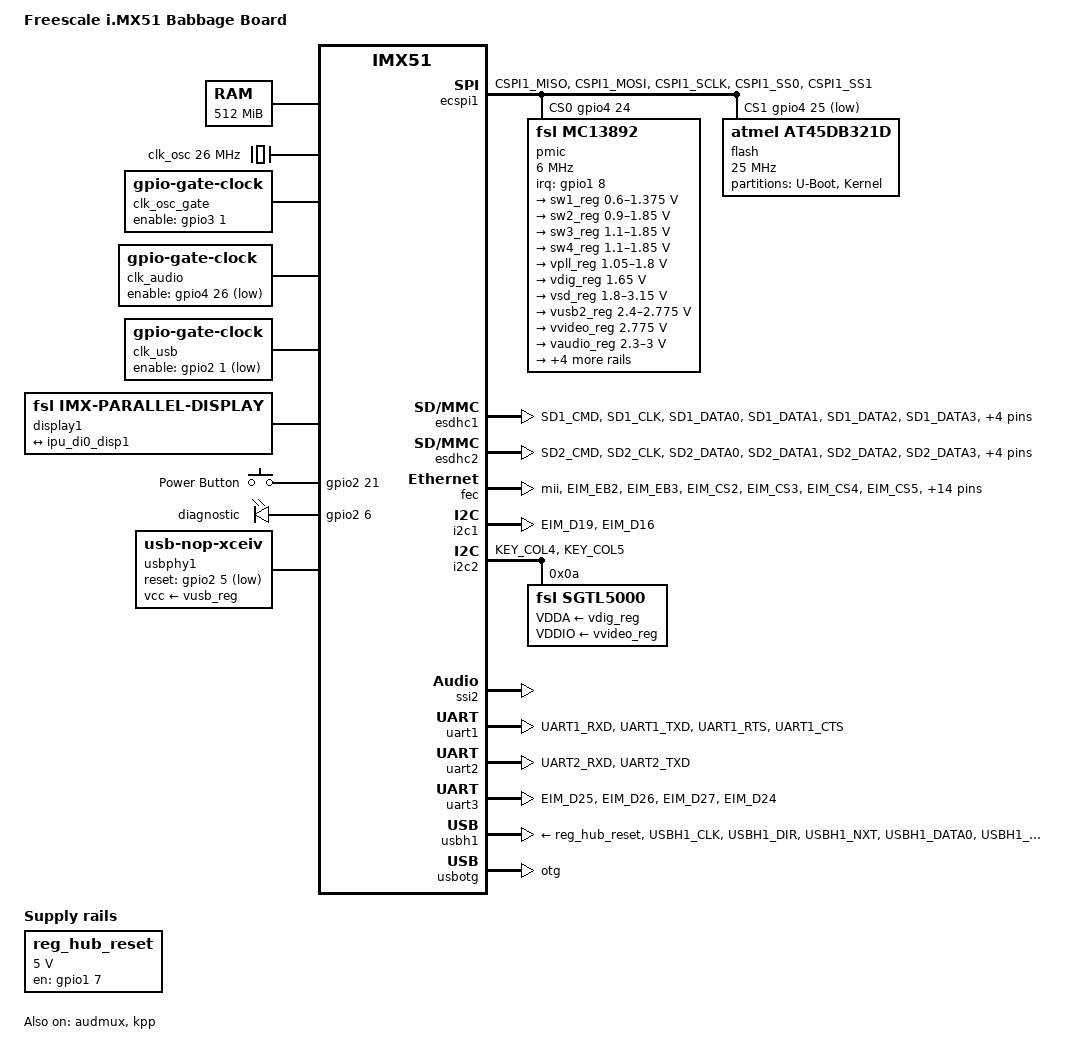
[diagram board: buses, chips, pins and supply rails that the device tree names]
// SPDX-License-Identifier: GPL-2.0+
//
// Copyright 2011 Freescale Semiconductor, Inc.
// Copyright 2011 Linaro Ltd.

/dts-v1/;
#include "imx51.dtsi"

/ {
	model = "Freescale i.MX51 Babbage Board";
	compatible = "fsl,imx51-babbage", "fsl,imx51";

	chosen {
		stdout-path = &uart1;
	};

	memory@90000000 {
		reg = <0x90000000 0x20000000>;
	};

	ckih1 {
		clock-frequency = <22579200>;
	};

	clk_osc: clk-osc {
		compatible = "fixed-clock";
		#clock-cells = <0>;
		clock-frequency = <26000000>;
	};

	clk_osc_gate: clk-osc-gate {
		compatible = "gpio-gate-clock";
		pinctrl-names = "default";
		pinctrl-0 = <&pinctrl_clk26mhz_osc>;
		clocks = <&clk_osc>;
		#clock-cells = <0>;
		enable-gpios = <&gpio3 1 GPIO_ACTIVE_HIGH>;
	};

	clk_audio: clk-audio {
		compatible = "gpio-gate-clock";
		pinctrl-names = "default";
		pinctrl-0 = <&pinctrl_clk26mhz_audio>;
		clocks = <&clk_osc_gate>;
		#clock-cells = <0>;
		enable-gpios = <&gpio4 26 GPIO_ACTIVE_LOW>;
	};

	clk_usb: clk-usb {
		compatible = "gpio-gate-clock";
		pinctrl-names = "default";
		pinctrl-0 = <&pinctrl_clk26mhz_usb>;
		clocks = <&clk_osc_gate>;
		#clock-cells = <0>;
		enable-gpios = <&gpio2 1 GPIO_ACTIVE_LOW>;
	};

	display1: disp1 {
		compatible = "fsl,imx-parallel-display";
		interface-pix-fmt = "rgb24";
		pinctrl-names = "default";
		pinctrl-0 = <&pinctrl_ipu_disp1>;
		display-timings {
			native-mode = <&timing0>;
			timing0: dvi {
				clock-frequency = <65000000>;
				hactive = <1024>;
				vactive = <768>;
				hback-porch = <220>;
				hfront-porch = <40>;
				vback-porch = <21>;
				vfront-porch = <7>;
				hsync-len = <60>;
				vsync-len = <10>;
			};
		};

		port {
			display0_in: endpoint {
				remote-endpoint = <&ipu_di0_disp1>;
			};
		};
	};

	display2: disp2 {
		compatible = "fsl,imx-parallel-display";
		interface-pix-fmt = "rgb565";
		pinctrl-names = "default";
		pinctrl-0 = <&pinctrl_ipu_disp2>;
		status = "disabled";
		display-timings {
			native-mode = <&timing1>;
			timing1: claawvga {
				clock-frequency = <27000000>;
				hactive = <800>;
				vactive = <480>;
				hback-porch = <40>;
				hfront-porch = <60>;
				vback-porch = <10>;
				vfront-porch = <10>;
				hsync-len = <20>;
				vsync-len = <10>;
				hsync-active = <0>;
				vsync-active = <0>;
				de-active = <1>;
				pixelclk-active = <0>;
			};
		};

		port {
			display1_in: endpoint {
				remote-endpoint = <&ipu_di1_disp2>;
			};
		};
	};

	gpio-keys {
		compatible = "gpio-keys";
		pinctrl-names = "default";
		pinctrl-0 = <&pinctrl_gpio_keys>;

		power {
			label = "Power Button";
			gpios = <&gpio2 21 GPIO_ACTIVE_HIGH>;
			linux,code = <KEY_POWER>;
			wakeup-source;
		};
	};

	leds {
		compatible = "gpio-leds";
		pinctrl-names = "default";
		pinctrl-0 = <&pinctrl_gpio_leds>;

		led-diagnostic {
			label = "diagnostic";
			gpios = <&gpio2 6 GPIO_ACTIVE_HIGH>;
		};
	};

	regulators {
		compatible = "simple-bus";
		#address-cells = <1>;
		#size-cells = <0>;

		reg_hub_reset: regulator@0 {
			compatible = "regulator-fixed";
			pinctrl-names = "default";
			pinctrl-0 = <&pinctrl_usbotgreg>;
			reg = <0>;
			regulator-name = "hub_reset";
			regulator-min-microvolt = <5000000>;
			regulator-max-microvolt = <5000000>;
			gpio = <&gpio1 7 GPIO_ACTIVE_HIGH>;
			enable-active-high;
		};
	};

	sound {
		compatible = "fsl,imx51-babbage-sgtl5000",
			     "fsl,imx-audio-sgtl5000";
		model = "imx51-babbage-sgtl5000";
		ssi-controller = <&ssi2>;
		audio-codec = <&sgtl5000>;
		audio-routing =
			"MIC_IN", "Mic Jack",
			"Mic Jack", "Mic Bias",
			"Headphone Jack", "HP_OUT";
		mux-int-port = <2>;
		mux-ext-port = <3>;
	};

	usbphy1: usbphy1 {
		compatible = "usb-nop-xceiv";
		pinctrl-names = "default";
		pinctrl-0 = <&pinctrl_usbh1reg>;
		clocks = <&clk_usb>;
		clock-names = "main_clk";
		reset-gpios = <&gpio2 5 GPIO_ACTIVE_LOW>;
		vcc-supply = <&vusb_reg>;
		#phy-cells = <0>;
	};
};

&audmux {
	pinctrl-names = "default";
	pinctrl-0 = <&pinctrl_audmux>;
	status = "okay";
};

&ecspi1 {
	pinctrl-names = "default";
	pinctrl-0 = <&pinctrl_ecspi1>;
	cs-gpios = <&gpio4 24 GPIO_ACTIVE_HIGH>,
		   <&gpio4 25 GPIO_ACTIVE_LOW>;
	status = "okay";

	pmic: mc13892@0 {
		compatible = "fsl,mc13892";
		pinctrl-names = "default";
		pinctrl-0 = <&pinctrl_pmic>;
		spi-max-frequency = <6000000>;
		spi-cs-high;
		reg = <0>;
		interrupt-parent = <&gpio1>;
		interrupts = <8 IRQ_TYPE_LEVEL_HIGH>;
		fsl,mc13xxx-uses-rtc;

		regulators {
			sw1_reg: sw1 {
				regulator-min-microvolt = <600000>;
				regulator-max-microvolt = <1375000>;
				regulator-boot-on;
				regulator-always-on;
			};

			sw2_reg: sw2 {
				regulator-min-microvolt = <900000>;
				regulator-max-microvolt = <1850000>;
				regulator-boot-on;
				regulator-always-on;
			};

			sw3_reg: sw3 {
				regulator-min-microvolt = <1100000>;
				regulator-max-microvolt = <1850000>;
				regulator-boot-on;
				regulator-always-on;
			};

			sw4_reg: sw4 {
				regulator-min-microvolt = <1100000>;
				regulator-max-microvolt = <1850000>;
				regulator-boot-on;
				regulator-always-on;
			};

			vpll_reg: vpll {
				regulator-min-microvolt = <1050000>;
				regulator-max-microvolt = <1800000>;
				regulator-boot-on;
				regulator-always-on;
			};

			vdig_reg: vdig {
				regulator-min-microvolt = <1650000>;
				regulator-max-microvolt = <1650000>;
				regulator-boot-on;
			};

			vsd_reg: vsd {
				regulator-min-microvolt = <1800000>;
				regulator-max-microvolt = <3150000>;
			};

			vusb_reg: vusb {
				regulator-boot-on;
			};

			vusb2_reg: vusb2 {
				regulator-min-microvolt = <2400000>;
				regulator-max-microvolt = <2775000>;
				regulator-boot-on;
				regulator-always-on;
			};

			vvideo_reg: vvideo {
				regulator-min-microvolt = <2775000>;
				regulator-max-microvolt = <2775000>;
			};

			vaudio_reg: vaudio {
				regulator-min-microvolt = <2300000>;
				regulator-max-microvolt = <3000000>;
			};

			vcam_reg: vcam {
				regulator-min-microvolt = <2500000>;
				regulator-max-microvolt = <3000000>;
			};

			vgen1_reg: vgen1 {
				regulator-min-microvolt = <1200000>;
				regulator-max-microvolt = <1200000>;
			};

			vgen2_reg: vgen2 {
				regulator-min-microvolt = <1200000>;
				regulator-max-microvolt = <3150000>;
				regulator-always-on;
			};

			vgen3_reg: vgen3 {
				regulator-min-microvolt = <1800000>;
				regulator-max-microvolt = <2900000>;
				regulator-always-on;
			};
		};
	};

	flash: at45db321d@1 {
		#address-cells = <1>;
		#size-cells = <1>;
		compatible = "atmel,at45db321d", "atmel,at45", "atmel,dataflash";
		spi-max-frequency = <25000000>;
		reg = <1>;

		partition@0 {
			label = "U-Boot";
			reg = <0x0 0x40000>;
			read-only;
		};

		partition@40000 {
			label = "Kernel";
			reg = <0x40000 0x3c0000>;
		};
	};
};

&esdhc1 {
	pinctrl-names = "default";
	pinctrl-0 = <&pinctrl_esdhc1>;
	cd-gpios = <&gpio1 0 GPIO_ACTIVE_LOW>;
	wp-gpios = <&gpio1 1 GPIO_ACTIVE_HIGH>;
	status = "okay";
};

&esdhc2 {
	pinctrl-names = "default";
	pinctrl-0 = <&pinctrl_esdhc2>;
	cd-gpios = <&gpio1 6 GPIO_ACTIVE_LOW>;
	wp-gpios = <&gpio1 5 GPIO_ACTIVE_HIGH>;
	status = "okay";
};

&fec {
	pinctrl-names = "default";
	pinctrl-0 = <&pinctrl_fec>;
	phy-mode = "mii";
	phy-reset-gpios = <&gpio2 14 GPIO_ACTIVE_LOW>;
	phy-reset-duration = <1>;
	status = "okay";
};

&i2c1 {
	pinctrl-names = "default";
	pinctrl-0 = <&pinctrl_i2c1>;
	status = "okay";
};

&i2c2 {
	pinctrl-names = "default";
	pinctrl-0 = <&pinctrl_i2c2>;
	status = "okay";

	sgtl5000: codec@a {
		compatible = "fsl,sgtl5000";
		reg = <0x0a>;
		#sound-dai-cells = <0>;
		clocks = <&clk_audio>;
		VDDA-supply = <&vdig_reg>;
		VDDIO-supply = <&vvideo_reg>;
	};
};

&ipu_di0_disp1 {
	remote-endpoint = <&display0_in>;
};

&ipu_di1_disp2 {
	remote-endpoint = <&display1_in>;
};

&kpp {
	pinctrl-names = "default";
	pinctrl-0 = <&pinctrl_kpp>;
	linux,keymap = <
		MATRIX_KEY(0, 0, KEY_UP)
		MATRIX_KEY(0, 1, KEY_DOWN)
		MATRIX_KEY(0, 2, KEY_VOLUMEDOWN)
		MATRIX_KEY(0, 3, KEY_HOME)
		MATRIX_KEY(1, 0, KEY_RIGHT)
		MATRIX_KEY(1, 1, KEY_LEFT)
		MATRIX_KEY(1, 2, KEY_ENTER)
		MATRIX_KEY(1, 3, KEY_VOLUMEUP)
		MATRIX_KEY(2, 0, KEY_F6)
		MATRIX_KEY(2, 1, KEY_F8)
		MATRIX_KEY(2, 2, KEY_F9)
		MATRIX_KEY(2, 3, KEY_F10)
		MATRIX_KEY(3, 0, KEY_F1)
		MATRIX_KEY(3, 1, KEY_F2)
		MATRIX_KEY(3, 2, KEY_F3)
		MATRIX_KEY(3, 3, KEY_POWER)
	>;
	status = "okay";
};

&pmu {
	secure-reg-access;
};

&ssi2 {
	status = "okay";
};

&uart1 {
	pinctrl-names = "default";
	pinctrl-0 = <&pinctrl_uart1>;
	uart-has-rtscts;
	status = "okay";
};

&uart2 {
	pinctrl-names = "default";
	pinctrl-0 = <&pinctrl_uart2>;
	status = "okay";
};

&uart3 {
	pinctrl-names = "default";
	pinctrl-0 = <&pinctrl_uart3>;
	uart-has-rtscts;
	status = "okay";
};

&usbh1 {
	pinctrl-names = "default";
	pinctrl-0 = <&pinctrl_usbh1>;
	vbus-supply = <&reg_hub_reset>;
	fsl,usbphy = <&usbphy1>;
	phy_type = "ulpi";
	status = "okay";
};

&usbphy0 {
	vcc-supply = <&vusb_reg>;
};

&usbotg {
	dr_mode = "otg";
	disable-over-current;
	phy_type = "utmi_wide";
	status = "okay";
};

&iomuxc {
	imx51-babbage {
		pinctrl_audmux: audmuxgrp {
			fsl,pins = <
				MX51_PAD_AUD3_BB_TXD__AUD3_TXD		0x80000000
				MX51_PAD_AUD3_BB_RXD__AUD3_RXD		0x80000000
				MX51_PAD_AUD3_BB_CK__AUD3_TXC		0x80000000
				MX51_PAD_AUD3_BB_FS__AUD3_TXFS		0x80000000
			>;
		};

		pinctrl_clk26mhz_audio: clk26mhzaudiocgrp {
			fsl,pins = <
				MX51_PAD_CSPI1_RDY__GPIO4_26		0x85
			>;
		};

		pinctrl_clk26mhz_osc: clk26mhzoscgrp {
			fsl,pins = <
				MX51_PAD_DI1_PIN12__GPIO3_1		0x85
			>;
		};

		pinctrl_clk26mhz_usb: clk26mhzusbgrp {
			fsl,pins = <
				MX51_PAD_EIM_D17__GPIO2_1		0x85
			>;
		};

		pinctrl_ecspi1: ecspi1grp {
			fsl,pins = <
				MX51_PAD_CSPI1_MISO__ECSPI1_MISO	0x185
				MX51_PAD_CSPI1_MOSI__ECSPI1_MOSI	0x185
				MX51_PAD_CSPI1_SCLK__ECSPI1_SCLK	0x185
				MX51_PAD_CSPI1_SS0__GPIO4_24		0x85 /* CS0 */
				MX51_PAD_CSPI1_SS1__GPIO4_25		0x85 /* CS1 */
			>;
		};

		pinctrl_esdhc1: esdhc1grp {
			fsl,pins = <
				MX51_PAD_SD1_CMD__SD1_CMD		0x400020d5
				MX51_PAD_SD1_CLK__SD1_CLK		0x20d5
				MX51_PAD_SD1_DATA0__SD1_DATA0		0x20d5
				MX51_PAD_SD1_DATA1__SD1_DATA1		0x20d5
				MX51_PAD_SD1_DATA2__SD1_DATA2		0x20d5
				MX51_PAD_SD1_DATA3__SD1_DATA3		0x20d5
				MX51_PAD_GPIO1_0__GPIO1_0		0x100
				MX51_PAD_GPIO1_1__GPIO1_1		0x100
			>;
		};

		pinctrl_esdhc2: esdhc2grp {
			fsl,pins = <
				MX51_PAD_SD2_CMD__SD2_CMD		0x400020d5
				MX51_PAD_SD2_CLK__SD2_CLK		0x20d5
				MX51_PAD_SD2_DATA0__SD2_DATA0		0x20d5
				MX51_PAD_SD2_DATA1__SD2_DATA1		0x20d5
				MX51_PAD_SD2_DATA2__SD2_DATA2		0x20d5
				MX51_PAD_SD2_DATA3__SD2_DATA3		0x20d5
				MX51_PAD_GPIO1_5__GPIO1_5		0x100 /* WP */
				MX51_PAD_GPIO1_6__GPIO1_6		0x100 /* CD */
			>;
		};

		pinctrl_fec: fecgrp {
			fsl,pins = <
				MX51_PAD_EIM_EB2__FEC_MDIO		0x000001f5
				MX51_PAD_EIM_EB3__FEC_RDATA1		0x00000085
				MX51_PAD_EIM_CS2__FEC_RDATA2		0x00000085
				MX51_PAD_EIM_CS3__FEC_RDATA3		0x00000085
				MX51_PAD_EIM_CS4__FEC_RX_ER		0x00000180
				MX51_PAD_EIM_CS5__FEC_CRS		0x00000180
				MX51_PAD_NANDF_RB2__FEC_COL		0x00000180
				MX51_PAD_NANDF_RB3__FEC_RX_CLK		0x00000180
				MX51_PAD_NANDF_D9__FEC_RDATA0		0x00002180
				MX51_PAD_NANDF_D8__FEC_TDATA0		0x00002004
				MX51_PAD_NANDF_CS2__FEC_TX_ER		0x00002004
				MX51_PAD_NANDF_CS3__FEC_MDC		0x00002004
				MX51_PAD_NANDF_CS4__FEC_TDATA1		0x00002004
				MX51_PAD_NANDF_CS5__FEC_TDATA2		0x00002004
				MX51_PAD_NANDF_CS6__FEC_TDATA3		0x00002004
				MX51_PAD_NANDF_CS7__FEC_TX_EN		0x00002004
				MX51_PAD_NANDF_RDY_INT__FEC_TX_CLK	0x00002180
				MX51_PAD_NANDF_D11__FEC_RX_DV		0x000020a4
				MX51_PAD_EIM_A20__GPIO2_14		0x00000085 /* Phy Reset */
			>;
		};

		pinctrl_gpio_keys: gpiokeysgrp {
			fsl,pins = <
				MX51_PAD_EIM_A27__GPIO2_21		0x5
			>;
		};

		pinctrl_gpio_leds: gpioledsgrp {
			fsl,pins = <
				MX51_PAD_EIM_D22__GPIO2_6		0x80000000
			>;
		};

		pinctrl_i2c1: i2c1grp {
			fsl,pins = <
				MX51_PAD_EIM_D19__I2C1_SCL		0x400001ed
				MX51_PAD_EIM_D16__I2C1_SDA		0x400001ed
			>;
		};

		pinctrl_i2c2: i2c2grp {
			fsl,pins = <
				MX51_PAD_KEY_COL4__I2C2_SCL		0x400001ed
				MX51_PAD_KEY_COL5__I2C2_SDA		0x400001ed
			>;
		};

		pinctrl_ipu_disp1: ipudisp1grp {
			fsl,pins = <
				MX51_PAD_DISP1_DAT0__DISP1_DAT0		0x5
				MX51_PAD_DISP1_DAT1__DISP1_DAT1		0x5
				MX51_PAD_DISP1_DAT2__DISP1_DAT2		0x5
				MX51_PAD_DISP1_DAT3__DISP1_DAT3		0x5
				MX51_PAD_DISP1_DAT4__DISP1_DAT4		0x5
				MX51_PAD_DISP1_DAT5__DISP1_DAT5		0x5
				MX51_PAD_DISP1_DAT6__DISP1_DAT6		0x5
				MX51_PAD_DISP1_DAT7__DISP1_DAT7		0x5
				MX51_PAD_DISP1_DAT8__DISP1_DAT8		0x5
				MX51_PAD_DISP1_DAT9__DISP1_DAT9		0x5
				MX51_PAD_DISP1_DAT10__DISP1_DAT10	0x5
				MX51_PAD_DISP1_DAT11__DISP1_DAT11	0x5
				MX51_PAD_DISP1_DAT12__DISP1_DAT12	0x5
				MX51_PAD_DISP1_DAT13__DISP1_DAT13	0x5
				MX51_PAD_DISP1_DAT14__DISP1_DAT14	0x5
				MX51_PAD_DISP1_DAT15__DISP1_DAT15	0x5
				MX51_PAD_DISP1_DAT16__DISP1_DAT16	0x5
				MX51_PAD_DISP1_DAT17__DISP1_DAT17	0x5
				MX51_PAD_DISP1_DAT18__DISP1_DAT18	0x5
				MX51_PAD_DISP1_DAT19__DISP1_DAT19	0x5
				MX51_PAD_DISP1_DAT20__DISP1_DAT20	0x5
				MX51_PAD_DISP1_DAT21__DISP1_DAT21	0x5
				MX51_PAD_DISP1_DAT22__DISP1_DAT22	0x5
				MX51_PAD_DISP1_DAT23__DISP1_DAT23	0x5
				MX51_PAD_DI1_PIN2__DI1_PIN2		0x5
				MX51_PAD_DI1_PIN3__DI1_PIN3		0x5
			>;
		};

		pinctrl_ipu_disp2: ipudisp2grp {
			fsl,pins = <
				MX51_PAD_DISP2_DAT0__DISP2_DAT0		0x5
				MX51_PAD_DISP2_DAT1__DISP2_DAT1		0x5
				MX51_PAD_DISP2_DAT2__DISP2_DAT2		0x5
				MX51_PAD_DISP2_DAT3__DISP2_DAT3		0x5
				MX51_PAD_DISP2_DAT4__DISP2_DAT4		0x5
				MX51_PAD_DISP2_DAT5__DISP2_DAT5		0x5
				MX51_PAD_DISP2_DAT6__DISP2_DAT6		0x5
				MX51_PAD_DISP2_DAT7__DISP2_DAT7		0x5
				MX51_PAD_DISP2_DAT8__DISP2_DAT8		0x5
				MX51_PAD_DISP2_DAT9__DISP2_DAT9		0x5
				MX51_PAD_DISP2_DAT10__DISP2_DAT10	0x5
				MX51_PAD_DISP2_DAT11__DISP2_DAT11	0x5
				MX51_PAD_DISP2_DAT12__DISP2_DAT12	0x5
				MX51_PAD_DISP2_DAT13__DISP2_DAT13	0x5
				MX51_PAD_DISP2_DAT14__DISP2_DAT14	0x5
				MX51_PAD_DISP2_DAT15__DISP2_DAT15	0x5
				MX51_PAD_DI2_PIN2__DI2_PIN2		0x5
				MX51_PAD_DI2_PIN3__DI2_PIN3		0x5
				MX51_PAD_DI2_DISP_CLK__DI2_DISP_CLK	0x5
				MX51_PAD_DI_GP4__DI2_PIN15		0x5
			>;
		};

		pinctrl_kpp: kppgrp {
			fsl,pins = <
				MX51_PAD_KEY_ROW0__KEY_ROW0		0xe0
				MX51_PAD_KEY_ROW1__KEY_ROW1		0xe0
				MX51_PAD_KEY_ROW2__KEY_ROW2		0xe0
				MX51_PAD_KEY_ROW3__KEY_ROW3		0xe0
				MX51_PAD_KEY_COL0__KEY_COL0		0xe8
				MX51_PAD_KEY_COL1__KEY_COL1		0xe8
				MX51_PAD_KEY_COL2__KEY_COL2		0xe8
				MX51_PAD_KEY_COL3__KEY_COL3		0xe8
			>;
		};

		pinctrl_pmic: pmicgrp {
			fsl,pins = <
				MX51_PAD_GPIO1_8__GPIO1_8		0xe5 /* IRQ */
			>;
		};

		pinctrl_uart1: uart1grp {
			fsl,pins = <
				MX51_PAD_UART1_RXD__UART1_RXD		0x1c5
				MX51_PAD_UART1_TXD__UART1_TXD		0x1c5
				MX51_PAD_UART1_RTS__UART1_RTS		0x1c5
				MX51_PAD_UART1_CTS__UART1_CTS		0x1c5
			>;
		};

		pinctrl_uart2: uart2grp {
			fsl,pins = <
				MX51_PAD_UART2_RXD__UART2_RXD		0x1c5
				MX51_PAD_UART2_TXD__UART2_TXD		0x1c5
			>;
		};

		pinctrl_uart3: uart3grp {
			fsl,pins = <
				MX51_PAD_EIM_D25__UART3_RXD		0x1c5
				MX51_PAD_EIM_D26__UART3_TXD		0x1c5
				MX51_PAD_EIM_D27__UART3_RTS		0x1c5
				MX51_PAD_EIM_D24__UART3_CTS		0x1c5
			>;
		};

		pinctrl_usbh1: usbh1grp {
			fsl,pins = <
				MX51_PAD_USBH1_CLK__USBH1_CLK		0x80000000
				MX51_PAD_USBH1_DIR__USBH1_DIR		0x80000000
				MX51_PAD_USBH1_NXT__USBH1_NXT		0x80000000
				MX51_PAD_USBH1_DATA0__USBH1_DATA0	0x80000000
				MX51_PAD_USBH1_DATA1__USBH1_DATA1	0x80000000
				MX51_PAD_USBH1_DATA2__USBH1_DATA2	0x80000000
				MX51_PAD_USBH1_DATA3__USBH1_DATA3	0x80000000
				MX51_PAD_USBH1_DATA4__USBH1_DATA4	0x80000000
				MX51_PAD_USBH1_DATA5__USBH1_DATA5	0x80000000
				MX51_PAD_USBH1_DATA6__USBH1_DATA6	0x80000000
				MX51_PAD_USBH1_DATA7__USBH1_DATA7	0x80000000
			>;
		};

		pinctrl_usbh1reg: usbh1reggrp {
			fsl,pins = <
				MX51_PAD_EIM_D21__GPIO2_5		0x85
			>;
		};

		pinctrl_usbotgreg: usbotgreggrp {
			fsl,pins = <
				MX51_PAD_GPIO1_7__GPIO1_7		0x85
			>;
		};
	};
};
